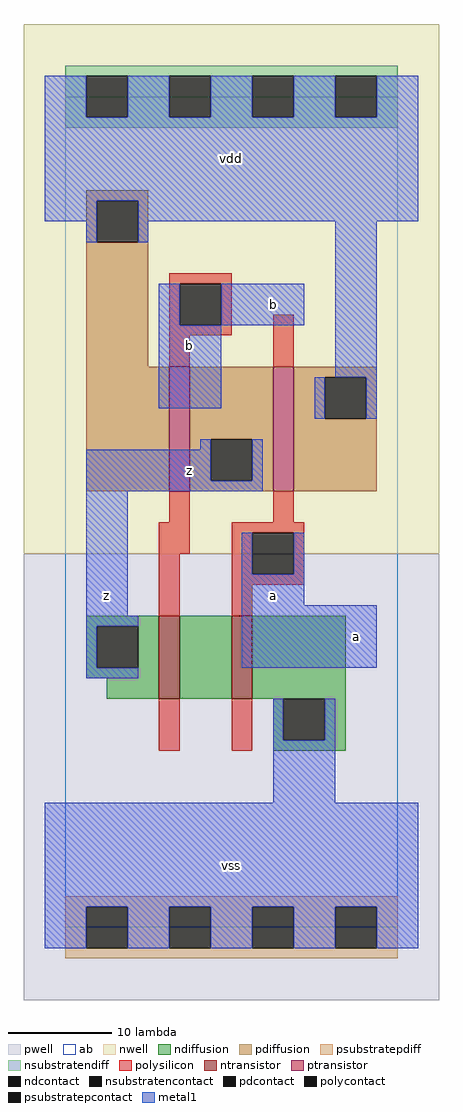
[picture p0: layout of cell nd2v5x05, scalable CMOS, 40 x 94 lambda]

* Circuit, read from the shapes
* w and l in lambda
.subckt nd2v5x05 a b vdd vss z
M1 n1 b z vss nfet w=8 l=2
M2 vss a n1 vss nfet w=8 l=2
M3 z b vdd vdd pfet w=12 l=2
M4 vdd a z vdd pfet w=12 l=2
.ends

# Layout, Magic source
magic
tech scmos
<< ab >>
rect 0 0 32 80
<< pwell >>
rect -4 -7 36 36
<< nwell >>
rect -4 36 36 87
<< polysilicon >>
rect 10 62 16 63
rect 10 58 11 62
rect 15 58 16 62
rect 10 57 16 58
rect 10 54 12 57
rect 20 54 22 59
rect 10 39 12 42
rect 20 39 22 42
rect 9 36 12 39
rect 16 38 23 39
rect 9 30 11 36
rect 16 34 18 38
rect 22 34 23 38
rect 16 33 23 34
rect 16 30 18 33
rect 9 17 11 22
rect 16 17 18 22
<< ndiffusion >>
rect 2 29 9 30
rect 2 25 3 29
rect 7 25 9 29
rect 2 24 9 25
rect 4 22 9 24
rect 11 22 16 30
rect 18 22 27 30
rect 20 18 21 22
rect 25 18 27 22
rect 20 17 27 18
<< pdiffusion >>
rect 2 70 8 71
rect 2 66 3 70
rect 7 66 8 70
rect 2 54 8 66
rect 2 42 10 54
rect 12 47 20 54
rect 12 43 14 47
rect 18 43 20 47
rect 12 42 20 43
rect 22 53 30 54
rect 22 49 25 53
rect 29 49 30 53
rect 22 42 30 49
<< metal1 >>
rect -2 78 2 82
rect 6 78 10 82
rect 14 78 18 82
rect 22 78 26 82
rect 30 78 34 82
rect -2 70 34 78
rect -2 68 3 70
rect 2 66 3 68
rect 7 68 34 70
rect 7 66 8 68
rect 9 58 11 62
rect 15 58 23 62
rect 9 50 15 58
rect 26 53 30 68
rect 24 49 25 53
rect 29 49 30 53
rect 13 46 14 47
rect 2 43 14 46
rect 18 43 19 47
rect 2 42 19 43
rect 2 30 6 42
rect 17 34 18 38
rect 22 34 23 38
rect 17 31 23 34
rect 2 29 7 30
rect 2 25 3 29
rect 17 25 30 31
rect 2 24 7 25
rect 20 18 21 22
rect 25 18 26 22
rect 20 12 26 18
rect -2 2 34 12
rect -2 -2 2 2
rect 6 -2 10 2
rect 14 -2 18 2
rect 22 -2 26 2
rect 30 -2 34 2
<< ntransistor >>
rect 9 22 11 30
rect 16 22 18 30
<< ptransistor >>
rect 10 42 12 54
rect 20 42 22 54
<< polycontact >>
rect 11 58 15 62
rect 18 34 22 38
<< ndcontact >>
rect 3 25 7 29
rect 21 18 25 22
<< pdcontact >>
rect 3 66 7 70
rect 14 43 18 47
rect 25 49 29 53
<< psubstratepcontact >>
rect 2 -2 6 2
rect 10 -2 14 2
rect 18 -2 22 2
rect 26 -2 30 2
<< nsubstratencontact >>
rect 2 78 6 82
rect 10 78 14 82
rect 18 78 22 82
rect 26 78 30 82
<< psubstratepdiff >>
rect 0 2 32 3
rect 0 -2 2 2
rect 6 -2 10 2
rect 14 -2 18 2
rect 22 -2 26 2
rect 30 -2 32 2
rect 0 -3 32 -2
<< nsubstratendiff >>
rect 0 82 32 83
rect 0 78 2 82
rect 6 78 10 82
rect 14 78 18 82
rect 22 78 26 82
rect 30 78 32 82
rect 0 77 32 78
<< labels >>
rlabel metal1 4 32 4 32 6 z
rlabel metal1 12 44 12 44 6 z
rlabel metal1 12 56 12 56 6 b
rlabel metal1 16 6 16 6 6 vss
rlabel metal1 20 32 20 32 6 a
rlabel metal1 20 60 20 60 6 b
rlabel metal1 16 74 16 74 6 vdd
rlabel metal1 28 28 28 28 6 a
<< end >>
